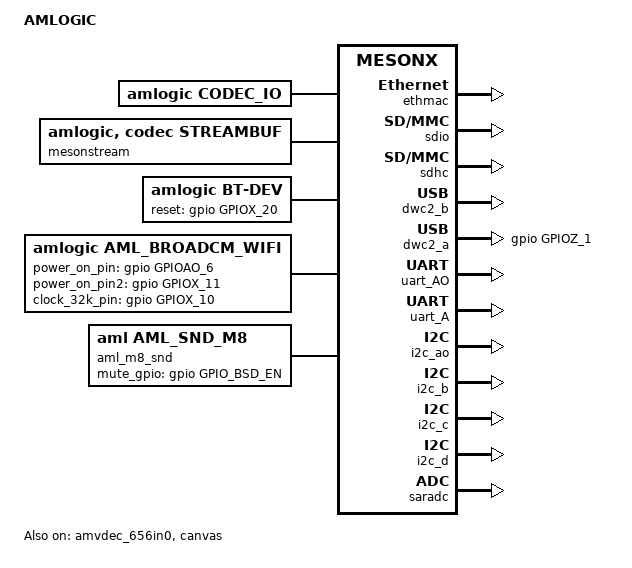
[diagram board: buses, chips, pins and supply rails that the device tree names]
/dts-v1/;
#include "meson8.dtsi"
#include <dt-bindings/clock/meson8.h>
#include <dt-bindings/reset/aml_meson8m2_gate.h>
/{
	amlogic-dt-id = "m8m2_n200_2G";
	compatible = "AMLOGIC,mesonX";
	model = "AMLOGIC";
	#address-cells = <1>;
	#size-cells = <1>;
	aliases {
		serial0 = &uart_AO;
		serial1 = &uart_A;
	};

	memory{
		device_type = "memory";
        	#address-cells = <1>;
        	#size-cells = <1>;

	};

	gpu_dvfs_tbl:gpu_dvfs_tbl {
		sc_mpp = <3>;/* number of pp used most of time.*/
		tbl = <&clk182_cfg &clk319_cfg &clk425_cfg &clk510_cfg &clk637_cfg>;
	};

	reserved-memory {
		#address-cells = <1>;
		#size-cells = <1>;
		ranges;
		/* global autoconfigured region for contiguous allocations */
		secmon_reserved:linux,secmon {
			compatible = "aml_secmon_memory";
			reg = <0x06100000 0x03000000>;
			no-map;
		};
		fb_reserved:linux,meson-fb {
			compatible = "amlogic, fb-memory";
			size = <0x2000000>;
			no-map;
		};

		/*  DISP&MM-A/V stream */
		streambuf_reserved:linux,mesonstream {
			compatible = "amlogic, stream-memory";
			size = <0x2000000>;
			no-map;
		};

		di_reserved:linux,di {
			compatible = "amlogic, di-mem";
			size = <0x01e00000>; //10x1920x1088x3/2=30M
			no-map;
		};

		/*  VDEC reserved memory */
		vdec_reserved:linux,vdec {
			compatible = "amlogic, vdec-memory";
			size = <0x4000000>;
			no-map;
		};

		/*  POST PROCESS MANAGER */
		ppmgr_reserved:linux,ppmgr {
			compatible = "amlogic, ppmgr_memory";
			size = <0x2000000>;
		};

        	/*  vdin0 */
        	vdin0_reserved:linux,vdin0 {
			compatible = "amlogic, vdin_memory";
			size = <0x01000000>;
        	};

        	/*  vdin1 */
        	vdin1_reserved:linux,vdin1 {
			compatible = "amlogic, vdin_memory";
			size = <0x01000000>;
        	};

		linux,cma {
			compatible = "shared-dma-pool";
			reusable;
			size = <0x4000000>;
			alignment = <0x400000>;
			linux,cma-default;
		};

		/* VDEC CMA pool */
		vdec_cma_reserved:linux,vdec_cma {
			compatible = "amlogic, vdec-cma-memory";
			reusable;
			size = <0xd000000>;
			alignment = <0x2000>;
		};

		ion_reserved:linux,ion-dev {
			compatible = "amlogic, idev-mem";
			size = <0x2000000>;
		};

		/* AVC Encode CMA pool */
		avc_cma_reserved:linux,avc_cma {
			compatible = "shared-dma-pool";
			linux,phandle = <1>;
			reusable;
			size = <0x2400000>;
			alignment = <0x400000>;
			linux,contiguous-region;
		};
	};

    	psci {
		compatible = "arm,psci";
		method = "smc";
		cpu_suspend = <0xC4000001>;
		cpu_off = <0x84000002>;
		cpu_on = <0x84000003>;
		migrate = <0xC4000005>;
		reg=<0xc4300000 0x4000
			0xc110419c 0x4
			0xc81000e4 0x4
			0xc81000e0 0x4
			0xd9000000 0x20000
			0xc4300000 0x4000>;
	};
	secmon {
		compatible = "aml,secmon";
		memory-region = <&secmon_reserved>;
		in_base_func = <0x82000020>;
		out_base_func = <0x82000021>;
	};
    ion_dev {
        compatible = "amlogic, ion_dev";
        memory-region = <&ion_reserved>;
    };
	deinterlace {
		compatible = "amlogic, deinterlace";
		status = "okay";
		memory-region = <&di_reserved>;
		interrupts = <0 46 1
					0 6 1>;
		interrupt-names = "de_irq", "timerc";
		buffer-size = <3133440>;//1920x1088x3/2
		hw-version = <1>;
    };

	cpufreq-meson {
		compatible = "amlogic, cpufreq-meson";
		status = "okay";
	};
	meson-vout {
		compatible = "amlogic, meson-vout";
		dev_name = "meson-vout";
		status = "okay";
	};
	meson-fb {
		compatible = "amlogic, meson-fb";
		memory-region = <&fb_reserved>;
		dev_name = "meson-fb";
		status = "okay";
		interrupts = <0 3 1
			0 57 1>;
		interrupt-names = "viu-vsync", "rdma";
		mem_size = <0x01800000 0x00100000>; /* fb0/fb1 memory size */
		vmode = <3>; /** 0:VMODE_720P 1:VMODE_LCD 2:VMODE_LVDS_1080P 3:VMODE_1080P */
		scale_mode = <1>; /** 0:VPU free scale 1:OSD free scale 2:OSD super scale */
		4k2k_fb = <0>;
		display_size_default = <1920 1080 1920 3240 32>; //1920*1080*4*3 = 0x17BB000
	};
	ge2d {
		compatible = "amlogic, ge2d";
		dev_name = "ge2d";
		status = "okay";
		interrupts = <0 150 1>;
		interrupt-names = "ge2d";
		clocks = <&clock CLK_81>;
		clock-names = "clk_ge2d";
		resets = <&clock GCLK_IDX_GE2D>;
		reset-names = "ge2d";
	};
	codec_io {
		compatible = "amlogic, codec_io";
		#address-cells=<1>;
		#size-cells=<1>;
		ranges;
		io_cbus_base{
			reg = <0xC1100000 0x100000>;
		};
		io_dos_base{
			reg = <0xd0050000 0x150000>;
		};
		io_hiubus_base{
			reg = <0 0x0>;
		};
		io_aobus_base{
			reg = <0xc8100000 0x100000>;
		};
		io_vcbus_base{
			reg = <0xd0100000 0x40000>;
		};
	};
	mesonstream {
		compatible = "amlogic, codec, streambuf";
		memory-region = <&streambuf_reserved>;
		dev_name = "mesonstream";
		status = "okay";
		resets = <&clock GCLK_IDX_HIU_PARSER_TOP
			&clock GCLK_IDX_VPU_INTR
			&clock GCLK_IDX_DEMUX
			&clock GCLK_IDX_DOS>;
		reset-names = "parser_top",
			"vpu_intr",
			"demux",
			"vdec";
	};

	vdec {
		compatible = "amlogic, vdec";
		memory-region = <&vdec_reserved>;
		dev_name = "vdec.0";
		status = "okay";
		interrupts = <0 3 1
			0 23 1
			0 32 1
			0 43 1
			0 44 1
			0 45 1>;
		interrupt-names = "vsync",
			"demux",
			"parser",
			"mailbox_0",
			"mailbox_1",
			"mailbox_2";
	};

	ppmgr {
		compatible = "amlogic, ppmgr";//to match of_device_id's compatible member
		memory-region = <&ppmgr_reserved>;
		dev_name = "ppmgr";
		status = "okay";
	};
    	vdin0{
        	compatible = "amlogic, vdin";
        	memory-region = <&vdin0_reserved>;
        	dev_name = "vdin0";
        	status = "ok";
        	reserve-iomap = "true";
        	//max_size = <1920 1080>;//1920x1080x2x4=17M
        	interrupts = <0 83 1>;
        	vdin_id = <0>;
    	};
    	vdin1 {
        	compatible = "amlogic, vdin";
        	memory-region = <&vdin1_reserved>;
        	dev_name = "vdin1";
        	status = "ok";
        	reserve-iomap = "true";
        	//miracast_size = <1920 1080>;//1920x1080x2x4=17M
        	interrupts = <0 85 1>;
        	vdin_id = <1>;
    	};
        amvdec_656in0 {
                compatible = "amlogic, amvdec_656in";
                dev_name = "amvdec_656in0";
                status = "ok";
                reg = <0xd010bd00 0x7c>;
        };

	amvenc_avc{
		compatible = "amlogic, amvenc_avc";
		//memory-region = <&amvenc_avc_reserved>;
		memory-region = <&avc_cma_reserved>;
		dev_name = "amvenc_avc";
		status = "okay";
		interrupts = <0 45 1>;
		interrupt-names = "mailbox_2";
	};

	ethmac: ethernet@0xc9410000{
		compatible = "amlogic, meson8m2-rmii-dwmac";
		reg = <0xc9410000 0x10000
		0xc1108108 0x4>;
		interrupts = <0 8 1>;
	//	pinctrl-names = "etherent_pinmux";
        //      pinctrl-0 = <&ethernet_pinmuxs>;
		rst_pin-gpios = <&gpio GPIOH_5 0>;
		mc_val = <0x1000>;
		resets = <&clock GCLK_IDX_ETHERNET>;
		reset-names = "ethpower";
		interrupt-names = "macirq";
		clocks = <&clock CLK_81>;
		clock-names = "ethclk81";
	};
	meson-remote {
		compatible = "amlogic, aml_remote";
		dev_name = "meson-remote";
		status = "ok";
		remote_ao_offset = <0x580>; /* 0x400 + (0x20 + idx)<<2 -- old ; 0x400 + (0x60 +idx)<<2 --new   */
		interrupts = <0 15 1>;
		interrupt-names = "remoteirq";
		pinctrl-names = "default";
		pinctrl-0 = <&remote_pins>;
	};
	meson-irblaster {
		compatible = "amlogic, am_irblaster";
		dev_name = "meson-irblaster";
		status = "ok";
	};

	bt-dev{
        compatible = "amlogic, bt-dev";
        dev_name = "bt-dev";
        status = "ok";
        gpio_reset = <&gpio       GPIOX_20       GPIO_ACTIVE_HIGH>;
    };

    wifi{
		compatible = "amlogic, aml_broadcm_wifi";
		dev_name = "aml_broadcm_wifi";
		status = "okay";
		interrupt_pin = <&gpio       GPIOX_21       GPIO_ACTIVE_HIGH>;
		interrupts = <	0 68 4>;
		irq_trigger_type = "GPIO_IRQ_HIGH";
		power_on_pin = <&gpio       GPIOAO_6       GPIO_ACTIVE_HIGH>;
		power_on_pin2 = <&gpio       GPIOX_11       GPIO_ACTIVE_HIGH>;
		clock_32k_pin = <&gpio       GPIOX_10       GPIO_ACTIVE_HIGH>;
	};

sdio{
        compatible = "amlogic, aml_sdio";
        dev_name = "aml_sdio.0";
        status = "okay";
        reg = <0xc1108c20 0x20>;
        interrupts = <	0 28 1
        				0 67 1
        				0 69 1>;
        pinctrl-names = "sd_clk_cmd_pins", "sd_all_pins", "emmc_clk_cmd_pins", "emmc_all_pins", "sdio_clk_cmd_pins", "sdio_all_pins","sd_1bit_pins"; // "jtag_pin", "uartao_default";
        pinctrl-0 = <&sd_clk_cmd_pins>;
        pinctrl-1 = <&sd_all_pins>;
        pinctrl-2 = <&emmc_clk_cmd_pins>;
        pinctrl-3 = <&emmc_all_pins>;
        pinctrl-4 = <&sdio_clk_cmd_pins>;
        pinctrl-5 = <&sdio_all_pins>;
        pinctrl-6 = <&sd_1bit_pins>;
	clocks = <&clock CLK_81>;
	clock-names = "host_clksrc";
        sd{
            status = "okay";
            port = <1>;          /**0:sdio_a, 1:sdio_b, 2:sdio_c, 3:sdhc_a, 4:sdhc_b, 5:sdhc_c */
            pinname = "sd";
            ocr_avail = <0x200000>;          /**VDD voltage 3.3 ~ 3.4 */
            caps = "MMC_CAP_4_BIT_DATA","MMC_CAP_MMC_HIGHSPEED","MMC_CAP_SD_HIGHSPEED";
            f_min = <300000>;
            f_max = <50000000>;
            f_max_w = <50000000>;
            max_req_size = <0x20000>;          /**128KB*/
            gpio_dat3 = <&gpio       CARD_4       GPIO_ACTIVE_HIGH>;
            jtag_pin =  <&gpio       CARD_0       GPIO_ACTIVE_HIGH>;
            gpio_cd =  <&gpio       CARD_6       GPIO_ACTIVE_HIGH>;
//            gpio_ro = "GPIOZ_0";
            irq_in = <3>;
            irq_out = <5>;
            card_type = <5>; /* 0:unknown, 1:mmc card(include eMMC), 2:sd card(include tSD), 3:sdio device(ie:sdio-wifi), 4:SD combo (IO+mem) card, 5:NON sdio device(means sd/mmc card), other:reserved */
        };
//        emmc{
//            status = "ok";
//            port = <2>;          /**0:sdio_a, 1:sdio_b, 2:sdio_c, 3:sdhc_a, 4:sdhc_b, 5:sdhc_c */
//            pinname = "emmc";
//            ocr_avail = <0x200000>;          /**VDD voltage 3.3 ~ 3.4 */
//            caps = "MMC_CAP_4_BIT_DATA","MMC_CAP_MMC_HIGHSPEED","MMC_CAP_SD_HIGHSPEED", "MMC_CAP_NONREMOVABLE","MMC_CAP_ERASE", "MMC_CAP_HW_RESET"; // MMC_CAP_NEEDS_POLL -- for detect, MMC_CAP_NONREMOVABLE -- for eMMC/TSD
//            f_min = <300000>;
//            f_max = <50000000>;
//            f_max_w = <50000000>;
//            max_req_size = <0x20000>;          /**128KB*/
//            gpio_dat3 = "BOOT_3";
//            card_type = <1>; /* 0:unknown, 1:mmc card(include eMMC), 2:sd card(include tSD), 3:sdio device(ie:sdio-wifi), 4:SD combo (IO+mem) card, 5:NON sdio device(means sd/mmc card), other:reserved */
//        };
	sdio{
            status = "ok";
            port = <0>;          /*0:sdio_a, 1:sdio_b, 2:sdio_c, 3:sdhc_a, 4:sdhc_b, 5:sdhc_c */
            pinname = "sdio";
            ocr_avail = <0x200000>;          /*VDD voltage 3.3 ~ 3.4 */
            caps = "MMC_CAP_4_BIT_DATA","MMC_CAP_SDIO_IRQ","MMC_CAP_MMC_HIGHSPEED","MMC_CAP_SD_HIGHSPEED", "MMC_CAP_NONREMOVABLE";
            f_min = <300000>;
            f_max = <50000000>;
            max_req_size = <0x20000>;          /**128KB*/
            card_type = <3>; /* 0:unknown, 1:mmc card(include eMMC), 2:sd card(include tSD), 3:sdio device(ie:sdio-wifi), 4:SD combo (IO+mem) card, 5:NON sdio device(means sd/mmc card), other:reserved */
        };
    };

    sdhc{
        compatible = "amlogic, aml_sdhc";
        dev_name = "aml_sdhc.0";
        status = "okay";
        reg = <0xc1108e00 0x3c>;
        interrupts = <	0 78 1
        				0 67 1
        				0 69 1>;
        pinctrl-names = "sdhc_sd_clk_cmd_pins", "sdhc_sd_all_pins", "sdhc_emmc_clk_cmd_pins", "sdhc_emmc_all_pins", "sdhc_sdio_clk_cmd_pins", "sdhc_sdio_all_pins";
        pinctrl-0 = <&sdhc_sd_clk_cmd_pins>;
        pinctrl-1 = <&sdhc_sd_all_pins>;
        pinctrl-2 = <&sdhc_emmc_clk_cmd_pins>;
        pinctrl-3 = <&sdhc_emmc_all_pins>;
        pinctrl-4 = <&sdhc_sdio_clk_cmd_pins>;
        pinctrl-5 = <&sdhc_sdio_all_pins>;
        //pinctrl-6 = <&sd_1bit_pins>;
//		clocks = <&clock CLK_FPLL_DIV_3>;
//		clock-names = "host_clksrc";
		resets = <&clock GCLK_IDX_SDHC>;
		reset-names = "sdhc_gate";

        // sd{
        //     status = "okay";
        //     port = <4>;          /**0:sdhc_a, 1:sdio_b, 2:sdio_c, 3:sdhc_a, 4:sdhc_b, 5:sdhc_c */
        //     pinname = "sd";
        //     ocr_avail = <0x00200080>; // 3.3:0x200000, 1.8+3.3:0x00200080
        //     caps = "MMC_CAP_4_BIT_DATA","MMC_CAP_MMC_HIGHSPEED","MMC_CAP_SD_HIGHSPEED","MMC_CAP_UHS_SDR12","MMC_CAP_UHS_SDR25","MMC_CAP_UHS_SDR50","MMC_CAP_UHS_SDR104";
        //     f_min = <300000>;
        //     f_max = <100000000>;
        //     max_req_size = <0x20000>;          /**128KB*/
        //     gpio_dat3 = "CARD_4";
        //     //jtag_pin = "CARD_0";
        //     gpio_cd = "CARD_6";
        //     //gpio_ro = "GPIOZ_0";
        //     irq_in = <3>;
        //     irq_out = <5>;
        //     card_type = <5>; /* 0:unknown, 1:mmc card(include eMMC), 2:sd card(include tSD), 3:sdio device(ie:sdio-wifi), 4:SD combo (IO+mem) card, 5:NON sdio device(means sd/mmc card), other:reserved */
        // };
        emmc{
            status = "okay";
            port = <5>;          /**0:sdio_a, 1:sdio_b, 2:sdio_c, 3:sdhc_a, 4:sdhc_b, 5:sdhc_c */
            pinname = "emmc";
            ocr_avail = <0x00200080>; // 3.3:0x200000, 1.8+3.3:0x00200080
            caps = "MMC_CAP_8_BIT_DATA","MMC_CAP_MMC_HIGHSPEED","MMC_CAP_SD_HIGHSPEED", "MMC_CAP_NONREMOVABLE","MMC_CAP_ERASE", "MMC_CAP_HW_RESET"; // MMC_CAP_NEEDS_POLL -- for detect, MMC_CAP_NONREMOVABLE -- for eMMC/TSD
            caps2 = "MMC_CAP2_HS200_1_8V_SDR";
	    	f_min = <300000>;
            f_max = <100000000>;
            max_req_size = <0x20000>;          /**128KB*/
            gpio_dat3 =  <&gpio       BOOT_3       GPIO_ACTIVE_HIGH>;
            card_type = <1>; /* 0:unknown, 1:mmc card(include eMMC), 2:sd card(include tSD), 3:sdio device(ie:sdio-wifi), 4:SD combo (IO+mem) card, 5:NON sdio device(means sd/mmc card), other:reserved */
        };
//        sdio{
//            status = "okay";
//            port = <3>;          /**0:sdio_a, 1:sdio_b, 2:sdio_c, 3:sdhc_a, 4:sdhc_b, 5:sdhc_c */
//            pinname = "sdio";
//            ocr_avail = <0x00200080>; // 3.3:0x200000, 1.8+3.3:0x00200080
//            caps = "MMC_CAP_4_BIT_DATA","MMC_CAP_MMC_HIGHSPEED","MMC_CAP_SD_HIGHSPEED", "MMC_CAP_NONREMOVABLE", "MMC_CAP_UHS_SDR12","MMC_CAP_UHS_SDR25","MMC_CAP_UHS_SDR50","MMC_CAP_UHS_SDR104";
//	        f_min = <300000>;
//            f_max = <100000000>;
//            max_req_size = <0x20000>;          /**128KB*/
//            card_type = <3>; /* 0:unknown, 1:mmc card(include eMMC), 2:sd card(include tSD), 3:sdio device(ie:sdio-wifi), 4:SD combo (IO+mem) card, 5:NON sdio device(means sd/mmc card), other:reserved */
//        };
    };
	pmu {
		compatible = "amlogic, aml_pmu_prober";
		#address-cells = <1>;
		#size-cells = <0>;
		driver_version = "v0.70";
		axp202 {
			compatible = "amlogic, axp_mfd";
			sub_type = "axp20_mfd";
			i2c_bus = "i2c_bus_ao";
			interrupts = <0 66 2>;
			reg = <0x34>;
			soft_limit_to99 = <0>;
			status = "disable";
		};
		aml1212 {
			compatible = "amlogic, amlogic_pmu";
			sub_type = "aml1212";
			i2c_bus = "i2c_bus_ao";
			interrupts = <0 66 2>;
			reg = <0x35>;
			soft_limit_to99 = <0>;
			status = "disable";
		};
		rn5t618 {
			compatible = "amlogic, ricoh_pmu";
			sub_type = "rn5t618";
			i2c_bus = "i2c_bus_ao";
			interrupts = <0 66 2>;
			reg = <0x32>;
			soft_limit_to99 = <0>;
			vbus_dcin_short_connect = <0>;
			status = "okay";
		};
		aml1216 {
			compatible = "amlogic, amlogic_pmu";
			sub_type = "aml1216_pmu";
			i2c_bus = "i2c_bus_ao";
			interrupts = <0 66 2>;
			reg = <0x35>;
			soft_limit_to99 = <0>;
			vbus_dcin_short_connect = <0>;
			status = "disable";
		};
		aml1218{
			compatible = "amlogic, amlogic_pmu";
			sub_type = "aml1218_pmu";
			i2c_bus = "i2c_bus_ao";
			interrupts = <0 66 2>;
			reg = <0x35>;
			soft_limit_to99 = <0>;
			vbus_dcin_short_connect = <1>;
			status = "disable";
		};
	};
	dwc2_b {
		compatible = "amlogic,dwc2";
		reg = <0xc90c0000 0x40000>;
		interrupts = <0 31 4>;
		status = "okay";
		pl-periph-id = <1>; /** lm name */
		clock-src = "usb1"; /** clock src */
		port-id = <1>;   /** ref to mach/usb.h */
		port-type = <1>;	/** 0: otg, 1: host, 2: slave */
		port-speed = <0>; /** 0: default, 1: high, 2: full */
		port-config = <0>; /** 0: default */
		port-dma = <0>; /** 0: default, 1: single, 2: incr, 3: incr4, 4: incr8, 5: incr16, 6: disable*/
		port-id-mode = <1>; /** 0: hardware, 1: sw_host, 2: sw_slave*/
		phy-reg = <0xc1108820>;
		phy-reg-size = <0x20>;
		usb-fifo = <1024>;
		host-only-core = <1>;
		pmu-apply-power = <1>;
		cpu-type = "meson8";
		resets = <&clock GCLK_IDX_USB_GENERAL
					&clock GCLK_IDX_MISC_USB1_TO_DDR
					&clock GCLK_IDX_USB1>;
		reset-names = "usb_general",
						"usb1",
						"usb1_to_ddr";
	};

	dwc2_a {
		compatible = "amlogic,dwc2";
		reg = <0xc9040000 0x40000>;
		interrupts = <0 30 4>;
		status = "okay";
		pl-periph-id = <0>; /** lm name */
		clock-src = "usb0"; /** clock src */
		port-id = <0>;  /** ref to mach/usb.h */
		port-type = <0>;	/** 0: otg, 1: host, 2: slave */
		port-speed = <0>; /** 0: default, high, 1: full */
		port-config = <0>; /** 0: default */
		port-dma = <0>; /** 0: default, 1: single, 2: incr, 3: incr4, 4: incr8, 5: incr16, 6: disable*/
		port-id-mode = <0>; /** 0: hardware, 1: sw_host, 2: sw_slave*/
		gpio-vbus-power = "GPIOZ_1";
		gpios = <&gpio       GPIOZ_1       GPIO_ACTIVE_HIGH>;
		gpio-work-mask	= <1>; /**0: work on pulldown,1:work on pullup*/
		phy-reg = <0xc1108800>;
		phy-reg-size = <0x20>;
		usb-fifo = <1024>;
		cpu-type = "meson8";
		resets = <&clock GCLK_IDX_USB_GENERAL
					&clock GCLK_IDX_MISC_USB0_TO_DDR
					&clock GCLK_IDX_USB0>;
		reset-names = "usb_general",
						"usb0",
						"usb0_to_ddr";
	};
	canvas{        compatible = "amlogic, meson, canvas";
        dev_name = "amlogic-canvas";
        status = "ok";
        reg = <0xc8006000 0x400>;
    };

	/* AUDIO board specific */
	dummy_codec:dummy{
		#sound-dai-cells = <0>;
		compatible = "amlogic, aml_dummy_codec";
		status = "okay";
	};
	aml_m8_snd {
		compatible = "aml, aml_snd_m8";
		status = "okay";
		aml-sound-card,format = "i2s";
		aml_sound_card,name = "AML-M8AUDIO";
		aml,audio-routing =
				"Ext Spk","LOUTL",
				"Ext Spk","LOUTR";

		mute_gpio-gpios = <&gpio GPIO_BSD_EN 0>;
		hp_disable;
		hp_paraments = <800 300 0 5 1>;
		pinctrl-names = "aml_snd_m8";
		pinctrl-0 = <&audio_pins>;
		cpu_list = <&cpudai0 &cpudai1 &cpudai2>;
		codec_list = <&codec0 &codec1 &codec2>;
		plat_list = <&i2s_plat &i2s_plat &pcm_plat>;
		cpudai0: cpudai0 {
			sound-dai = <&i2s_dai>;
		};
		cpudai1: cpudai1 {
			sound-dai = <&spdif_dai>;
		};
		cpudai2: cpudai2 {
			sound-dai = <&pcm_dai>;
		};
		codec0: codec0 {
			sound-dai = <&dummy_codec>;
		};
		codec1: codec1 {
			sound-dai = <&spdif_codec>;
		};
		codec2: codec2 {
			sound-dai = <&pcm_codec>;
		};
	};
	/* END OF AUDIO board specific */

	efuse{
		compatible = "amlogic, efuse";
		read_cmd = <0x82000030>;
		write_cmd = <0x82000031>;
		plat-pos = <0 454>;
		plat-count = <48>;
		usid-min = <8>; /*reserved*/
		usid-max = <31>; /*reserved*/
	};
	/* DVB */

	dvb{
		compatible = "amlogic, dvb";
		dev_name = "dvb";
		/*"parallel","serial","disable"*/
		ts0 = "parallel";
		ts0_control = <0>;
		ts0_invert = <0>;
		pinctrl-names = "p_ts0", "s_ts0";
		pinctrl-0 = <&dvb_p_ts0_pins>;
		pinctrl-1 = <&dvb_s_ts0_pins>;
	};

	//$$ DEVICE="dvbfe"
	dvbfe{
		compatible = "amlogic, dvbfe";
		dev_name = "dvbfe";
		dtv_demod0 = "Mxl241";
		dtv_demod0_i2c_adap_id = <2>;
		dtv_demod0_i2c_addr = <0x60>;
		dtv_demod0_reset_value = <0>;
		dtv_demod0_reset_gpio = "GPIOY_5";
		fe0_dtv_demod = <0>;
		fe0_ts = <0>;
		fe0_dev = <0>;
		pinctrl-names = "default";
		pinctrl-0 = <&dvb_fe_pins>;
	};
}; /* end of / */
&uart_AO {
	status="okay";
};
&uart_A {
	status="okay";
};

&i2c_ao {
  status = "okay";
};

&i2c_b {
  status = "okay";
};

&i2c_c {
  status = "okay";
};
&i2c_d {
  status = "okay";
};

&amhdmitx {
	vend-data = <&vend_data>;

	vend_data: vend_data{
	    vendor_name = "Amlogic";           /* Max Chars: 8     */
	    vendor_id = <0x000000>;                 /* Refer to http://standards.ieee.org/develop/regauth/oui/oui.txt   */
	    product_desc = "M8M2 Mbox";        /* Max Chars: 16    */
	    cec_osd_string = "Amlogic MBox";        /* Max Chars: 14    */
	};
};

&pinmux {
	audio_pins:audio_pin{
		amlogic,setmask=<3 0x78000000
				AO 0x78000000>;
		amlogic,clrmask=<4 0x3c000
				5 0x1000>;
		amlogic,pins = "GPIOX_4","GPIOX_5","GPIOX_6","GPIOX_7",
					"GPIOAO_8","GPIOAO_9","GPIOAO_10","GPIOAO_11";
	};
	audio_spdif_pins:audio_pin1{
		amlogic,setmask=<1 0x80>;
		amlogic,clrmask=<1 0x10000>;
		amlogic,pins ="GPIOY_3";
	};
	dvb_p_ts0_pins: dvb_p_ts0_pins {
		amlogic,setmask = <3 0x3F>;
		amlogic,clrmask = <1 0xCCE41
                      4 0x2000000
        							7 0x20000000
                      9 0x431F>;
		amlogic,pins = "GPIOY_9","GPIOY_10","GPIOY_11","GPIOY_12","GPIOY_13",
			"GPIOY_14","GPIOY_15","GPIOY_16","GPIOY_0","GPIOY_1","GPIOY_4","GPIOY_8";
};
	remote_pins:remote_pin {
		amlogic,setmask = <AO 0x1>;
		amlogic,pins = "GPIOAO_7";
	};


dvb_s_ts0_pins: dvb_s_ts0_pins {
		amlogic,setmask = <3 0x1F>;
		amlogic,clrmask = <1 0xCCE41
											 4 0x2000000
    									 9 0x310>;
		amlogic,pins = "GPIOY_9","GPIOY_0","GPIOY_1","GPIOY_4","GPIOY_8";
};
dvb_fe_pins: dvb_fe_pins {
		amlogic,clrmask = <1 0x38
            					 3 0x18000
                       4 0x1800000
                    	9 0xC0>;
		amlogic,pins = "GPIOY_6";
};

/*
	ethernet_pinmuxs:eth_pin{
		amlogic,setmask=<6 0xffff>;
		amlogic,clrmask=<  >;
		amlogic,pins = " "," ";
	};
*/
};

	&saradc {
		status = "okay";
	};
